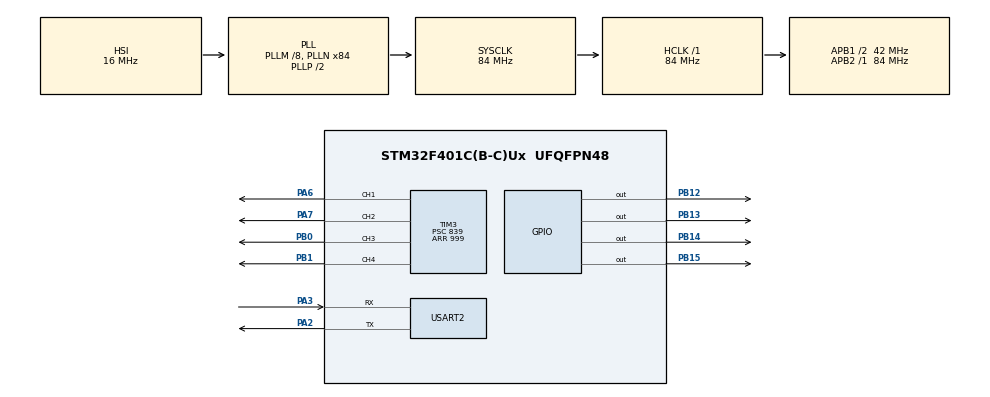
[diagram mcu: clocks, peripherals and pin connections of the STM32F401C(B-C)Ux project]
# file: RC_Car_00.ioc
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Mcu.Family=STM32F4
Mcu.Name=STM32F401C(B-C)Ux
Mcu.Package=UFQFPN48
NVIC.PriorityGroup=NVIC_PRIORITYGROUP_4
NVIC.RCC_IRQn=true\:0\:0\:false\:false\:true\:true\:false\:true
NVIC.TIM3_IRQn=true\:0\:0\:false\:false\:true\:true\:true\:true
NVIC.USART2_IRQn=true\:0\:0\:false\:false\:true\:true\:true\:true
PA13.Mode=Serial_Wire
PA13.Signal=SYS_JTMS-SWDIO
PA14.Mode=Serial_Wire
PA14.Signal=SYS_JTCK-SWCLK
PA2.Mode=Asynchronous
PA2.Signal=USART2_TX
PA3.Mode=Asynchronous
PA3.Signal=USART2_RX
PA6.Signal=S_TIM3_CH1
PA7.Signal=S_TIM3_CH2
PB0.Signal=S_TIM3_CH3
PB1.Signal=S_TIM3_CH4
PB12.PinState=GPIO_PIN_RESET
PB12.Signal=GPIO_Output
PB13.PinState=GPIO_PIN_RESET
PB13.Signal=GPIO_Output
PB14.PinState=GPIO_PIN_RESET
PB14.Signal=GPIO_Output
PB15.PinState=GPIO_PIN_RESET
PB15.Signal=GPIO_Output
PH0\ -\ OSC_IN.Mode=HSE-External-Oscillator
PH0\ -\ OSC_IN.Signal=RCC_OSC_IN
PH1\ -\ OSC_OUT.Mode=HSE-External-Oscillator
PH1\ -\ OSC_OUT.Signal=RCC_OSC_OUT
ProjectManager.HeapSize=0x200
ProjectManager.StackSize=0x400
ProjectManager.TargetToolchain=MDK-ARM V5
RCC.48MHZClocksFreq_Value=42000000
RCC.AHBFreq_Value=84000000
RCC.APB1CLKDivider=RCC_HCLK_DIV2
RCC.APB1Freq_Value=42000000
RCC.APB1TimFreq_Value=84000000
RCC.APB2Freq_Value=84000000
RCC.APB2TimFreq_Value=84000000
RCC.CortexFreq_Value=84000000
RCC.HCLKFreq_Value=84000000
RCC.HSE_VALUE=25000000
RCC.HSI_VALUE=16000000
RCC.LSE_VALUE=32768
RCC.PLLM=8
RCC.PLLN=84
RCC.SYSCLKFreq_VALUE=84000000
RCC.SYSCLKSource=RCC_SYSCLKSOURCE_PLLCLK
RCC.VCOOutputFreq_Value=168000000
SH.S_TIM3_CH1.0=TIM3_CH1,PWM Generation1 CH1
SH.S_TIM3_CH2.0=TIM3_CH2,PWM Generation2 CH2
SH.S_TIM3_CH3.0=TIM3_CH3,PWM Generation3 CH3
SH.S_TIM3_CH4.0=TIM3_CH4,PWM Generation4 CH4
TIM3.AutoReloadPreload=TIM_AUTORELOAD_PRELOAD_ENABLE
TIM3.Channel-PWM\ Generation1\ CH1=TIM_CHANNEL_1
TIM3.Channel-PWM\ Generation2\ CH2=TIM_CHANNEL_2
TIM3.Channel-PWM\ Generation3\ CH3=TIM_CHANNEL_3
TIM3.Channel-PWM\ Generation4\ CH4=TIM_CHANNEL_4
TIM3.Period=999
TIM3.Prescaler=839
USART2.VirtualMode=VM_ASYNC
VP_TIM3_VS_ClockSourceINT.Mode=Internal
board=custom

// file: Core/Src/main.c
/* USER CODE BEGIN Header */
/**
 ******************************************************************************
 * @file           : main.c
 * @brief          : Main program body
 ******************************************************************************
 * @attention
 *
 * Copyright (c) 2023 STMicroelectronics.
 * All rights reserved.
 *
 * This software is licensed under terms that can be found in the LICENSE file
 * in the root directory of this software component.
 * If no LICENSE file comes with this software, it is provided AS-IS.
 *
 ******************************************************************************
 */
/* USER CODE END Header */
#include "main.h"

TIM_HandleTypeDef htim3;

UART_HandleTypeDef huart2;

/* USER CODE BEGIN PV */

// Global variables:
uint8_t rx_buff = '\0';
uint8_t tx_buff = 0xAA;

// debug
uint8_t pwmA, pwmB, V1, V2;

/* USER CODE END PV */

void SystemClock_Config(void);
static void MX_GPIO_Init(void);
static void MX_TIM3_Init(void);
static void MX_USART2_UART_Init(void);
/* USER CODE BEGIN PFP */

void HAL_UART_RxCpltCallback(UART_HandleTypeDef *huart);
void HAL_UART_TxCpltCallback(UART_HandleTypeDef *huart);

uint8_t decode(uint8_t Vin, _Bool Mode);

// return percent of value
uint8_t map_(uint8_t value);

void Stop(void);

void Forward(void);
void Back(void);
void L_Spin(void);
void R_Spin(void);

void pwm(uint8_t pwmA, uint8_t pwmB);
unsigned char map_pwm_bitwise(unsigned char V1, unsigned char V2);

// void pwm_(uint8_t V2, uint8_t V1);

void controll(uint8_t value);

/* USER CODE END PFP */

/* USER CODE BEGIN 0 */
// Call this function after receive data from uart
// Active after receive data
void HAL_UART_RxCpltCallback(UART_HandleTypeDef *huart)
{
  //  __NOP();
  controll(rx_buff);
  /* Prevent unused argument(s) compilation warning */
  //  UNUSED(huart);
  /* NOTE: This function should not be modified, when the callback is needed,
           the HAL_UART_RxCpltCallback could be implemented in the user file
   */
}

// Call this function after transmit data
// Active after transmit
void HAL_UART_TxCpltCallback(UART_HandleTypeDef *huart)
{
  //	__NOP();
  /* Prevent unused argument(s) compilation warning */
  //  UNUSED(huart);
  HAL_UART_Receive_IT(&huart2, &rx_buff, 1);
  //	controll(rx_buff);
  /* NOTE: This function should not be modified, when the callback is needed,
           the HAL_UART_TxCpltCallback could be implemented in the user file
   */
}

uint8_t decode(uint8_t Vin, _Bool Mode)
{
  return (Mode == 1) ? (Vin >> 4) : (Vin & 15);
}

uint8_t map_(uint8_t value)
{
  uint8_t mp[] = {100, 85, 71, 56, 42, 28, 14, 0, 14, 28, 42, 56, 71, 85, 100};
  return mp[value];
}

// void pwm_(uint8_t V2, uint8_t V1)
//{
//
//   if (V1 == 7)
//   {
//		pwmA = pwmB = map_(V2);
//
//
//     __HAL_TIM_SET_COMPARE(&htim3, TIM_CHANNEL_1, pwmA);
//		__HAL_TIM_SET_COMPARE(&htim3, TIM_CHANNEL_2, pwmA);
//
//		__HAL_TIM_SET_COMPARE(&htim3, TIM_CHANNEL_3, pwmB);
//		__HAL_TIM_SET_COMPARE(&htim3, TIM_CHANNEL_4, pwmB);
//   }
//	else
//	{
//		if (V2 > 7)
//		{
//			pwmA = map_(V1);
//			pwmB = pwmA * map_(V2) / 100;
//		}
//		if (V2 < 7)
//		{
//			pwmB = map_(V1);
//			pwmA = pwmB * map_(V2) / 100;
//		}
//		__HAL_TIM_SET_COMPARE(&htim3, TIM_CHANNEL_1, pwmA);
//		__HAL_TIM_SET_COMPARE(&htim3, TIM_CHANNEL_3, pwmA);
//
//		__HAL_TIM_SET_COMPARE(&htim3, TIM_CHANNEL_2, pwmB);
//		__HAL_TIM_SET_COMPARE(&htim3, TIM_CHANNEL_4, pwmB);
//	}
////  HAL_Delay(50);
//}

void Stop()
{
  HAL_GPIO_WritePin(GPIOB, GPIO_PIN_12 | GPIO_PIN_13 | GPIO_PIN_14 | GPIO_PIN_15, GPIO_PIN_RESET);
  __HAL_TIM_SET_COMPARE(&htim3, TIM_CHANNEL_1, 0);
  __HAL_TIM_SET_COMPARE(&htim3, TIM_CHANNEL_2, 0);
  __HAL_TIM_SET_COMPARE(&htim3, TIM_CHANNEL_3, 0);
  __HAL_TIM_SET_COMPARE(&htim3, TIM_CHANNEL_4, 0);
}

void Forward()
{
  // Motor L up
  HAL_GPIO_WritePin(GPIOB, GPIO_PIN_12 | GPIO_PIN_14, GPIO_PIN_SET);
  // Motor R up
  HAL_GPIO_WritePin(GPIOB, GPIO_PIN_13 | GPIO_PIN_15, GPIO_PIN_RESET);
}
void Back()
{
  // Motor L down
  HAL_GPIO_WritePin(GPIOB, GPIO_PIN_12 | GPIO_PIN_14, GPIO_PIN_RESET);
  // Motor R down
  HAL_GPIO_WritePin(GPIOB, GPIO_PIN_13 | GPIO_PIN_15, GPIO_PIN_SET);
}

void L_Spin()
{
  // Motor L down
  HAL_GPIO_WritePin(GPIOB, GPIO_PIN_12 | GPIO_PIN_15, GPIO_PIN_RESET);
  // Motor R up
  HAL_GPIO_WritePin(GPIOB, GPIO_PIN_13 | GPIO_PIN_14, GPIO_PIN_SET);
}
void R_Spin()
{
  // Motor L up
  HAL_GPIO_WritePin(GPIOB, GPIO_PIN_12 | GPIO_PIN_15, GPIO_PIN_SET);
  // Motor R down
  HAL_GPIO_WritePin(GPIOB, GPIO_PIN_13 | GPIO_PIN_14, GPIO_PIN_RESET);
}

void pwm(uint8_t pwmA, uint8_t pwmB)
{
  __HAL_TIM_SET_COMPARE(&htim3, TIM_CHANNEL_1, pwmA);
  __HAL_TIM_SET_COMPARE(&htim3, TIM_CHANNEL_3, pwmA);
  __HAL_TIM_SET_COMPARE(&htim3, TIM_CHANNEL_2, pwmB);
  __HAL_TIM_SET_COMPARE(&htim3, TIM_CHANNEL_4, pwmB);
}

unsigned char map_pwm_bitwise(unsigned char V1, unsigned char V2)
{
    unsigned char map[8][8] = {
      {0, 40, 55, 60, 65, 75, 80, 80},
//			{15, 11, 8, 6, 4, 2, 0, 0},      // 1
      {30, 21, 17, 12, 8, 8, 8, 8},    // 2
      {45, 32, 25, 18, 11, 11, 11, 11},   // 3
      {60, 42, 33, 24, 15, 15, 15, 15},   // 4
      {75, 53, 41, 30, 19, 19, 19, 19},   // 5
      {90, 63, 50, 36, 23, 23, 23, 23},   // 6
			{100, 70, 55, 40, 25, 25, 25, 25},  // 7
      {100, 70, 55, 40, 25, 25, 25, 25}  // 7
    };
  // Use for bug joystick V2 can't send 100% (14)
//  unsigned char map[8][8] = {
//      {0, 25, 40, 55, 70, 85, 100, 100}, // 0
// //     {15, 11, 8, 6, 4, 2, 0, 0},      // 1
//      {30, 21, 17, 12, 8, 3, 0, 0},    // 2
//      {45, 32, 25, 18, 11, 5, 0, 0},   // 3
//      {60, 42, 33, 24, 15, 6, 0, 0},   // 4
//      {75, 53, 41, 30, 19, 8, 0, 0},   // 5
//      {90, 63, 50, 36, 23, 9, 0, 0},   // 6
//			{100, 70, 55, 40, 25, 10, 0, 0},  // 7
//      {100, 70, 55, 40, 25, 10, 0, 0}  // 7
//  };
  V1 = (V1 < 7) ? (7 - V1) : (V1 - 7);
  V2 = (V2 < 7) ? (7 - V2) : (V2 - 7);
  return map[V1][V2];
}

void controll(uint8_t value)
{
  //  uint8_t V1, V2;

  V1 = decode(value, 1);
  V2 = decode(value, 0);

  if (V2 == 7)
  {
    if (V1 == 7)
      Stop();
    else
    {
      // pwmA = pwmB = map_(V1);
      pwmA = pwmB = map_pwm_bitwise(V1, V2);
      pwm(pwmA, pwmB);
      //    pwm(map_(V1),map_(V1));
      if (V1 < 7)
        Back();
      else
        Forward();
    }
  }
  if (V2 < 7)
  {
    if (V1 == 7)
    {
      // pwmA = pwmB = map_(V2);
      pwmA = pwmB = map_pwm_bitwise(V1, V2);
      L_Spin();
      pwm(pwmA, pwmB);
      //      pwm(map_(V2),map_(V2));
    }
    else
    {
      // pwmA = map_(V1)-((~(V2-7)+1)<<1);
      // pwmB = map_(V1);
      pwmB = map_pwm_bitwise(V1, 7);
      pwmA = map_pwm_bitwise(V1, V2);
      pwm(pwmA, pwmB);
      //      pwm(map_(V1)-((~(V2-7)+1)<<1), map_(V1));
      if (V1 > 7)
        Forward();
      else
        Back();
    }
  }
  if (V2 > 7)
  {
    if (V1 == 7)
    {
      // pwmA = pwmB = map_(V2);
      pwmA = pwmB = map_pwm_bitwise(V1, V2);
      pwm(pwmA, pwmB);
      //      pwm(map_(V2),map_(V2));
      R_Spin();
    }
    else
    {
      // pwmA = map_(V1);
      // pwmB = map_(V1) - ((V2-7)<<1);
      pwmA = map_pwm_bitwise(V1, 7);
      pwmB = map_pwm_bitwise(V1, V2);
      pwm(pwmA, pwmB);
      //      pwm(map_(V1), map_(V1) - ((V2-7)<<1));
      if (V1 > 7)
        Forward();
      else
        Back();
    }
  }
}
// pwm
//  pwm_(V2, V1);

/* USER CODE END 0 */

int main(void)
{

  /* MCU Configuration--------------------------------------------------------*/

  /* Reset of all peripherals, Initializes the Flash interface and the Systick. */
  HAL_Init();

  /* Configure the system clock */
  SystemClock_Config();

  /* Initialize all configured peripherals */
  MX_GPIO_Init();
  MX_TIM3_Init();
  MX_USART2_UART_Init();
  /* USER CODE BEGIN 2 */
  HAL_TIM_PWM_Start(&htim3, TIM_CHANNEL_1);
  HAL_TIM_PWM_Start(&htim3, TIM_CHANNEL_2);
  HAL_TIM_PWM_Start(&htim3, TIM_CHANNEL_3);
  HAL_TIM_PWM_Start(&htim3, TIM_CHANNEL_4);
  /* USER CODE END 2 */

  /* Infinite loop */
  while (1)
  {

    /* USER CODE BEGIN 3 */
    HAL_UART_Transmit_IT(&huart2, &tx_buff, 1);
    HAL_Delay(100);
  }
  /* USER CODE END 3 */
}

void SystemClock_Config(void)
{
  RCC_OscInitTypeDef RCC_OscInitStruct = {0};
  RCC_ClkInitTypeDef RCC_ClkInitStruct = {0};

  /** Configure the main internal regulator output voltage
   */
  __HAL_RCC_PWR_CLK_ENABLE();
  __HAL_PWR_VOLTAGESCALING_CONFIG(PWR_REGULATOR_VOLTAGE_SCALE2);

  /** Initializes the RCC Oscillators according to the specified parameters
   * in the RCC_OscInitTypeDef structure.
   */
  RCC_OscInitStruct.OscillatorType = RCC_OSCILLATORTYPE_HSI;
  RCC_OscInitStruct.HSIState = RCC_HSI_ON;
  RCC_OscInitStruct.HSICalibrationValue = RCC_HSICALIBRATION_DEFAULT;
  RCC_OscInitStruct.PLL.PLLState = RCC_PLL_ON;
  RCC_OscInitStruct.PLL.PLLSource = RCC_PLLSOURCE_HSI;
  RCC_OscInitStruct.PLL.PLLM = 8;
  RCC_OscInitStruct.PLL.PLLN = 84;
  RCC_OscInitStruct.PLL.PLLP = RCC_PLLP_DIV2;
  RCC_OscInitStruct.PLL.PLLQ = 4;
  if (HAL_RCC_OscConfig(&RCC_OscInitStruct) != HAL_OK)
  {
    Error_Handler();
  }

  /** Initializes the CPU, AHB and APB buses clocks
   */
  RCC_ClkInitStruct.ClockType = RCC_CLOCKTYPE_HCLK | RCC_CLOCKTYPE_SYSCLK | RCC_CLOCKTYPE_PCLK1 | RCC_CLOCKTYPE_PCLK2;
  RCC_ClkInitStruct.SYSCLKSource = RCC_SYSCLKSOURCE_PLLCLK;
  RCC_ClkInitStruct.AHBCLKDivider = RCC_SYSCLK_DIV1;
  RCC_ClkInitStruct.APB1CLKDivider = RCC_HCLK_DIV2;
  RCC_ClkInitStruct.APB2CLKDivider = RCC_HCLK_DIV1;

  if (HAL_RCC_ClockConfig(&RCC_ClkInitStruct, FLASH_LATENCY_2) != HAL_OK)
  {
    Error_Handler();
  }
}

static void MX_TIM3_Init(void)
{

  TIM_ClockConfigTypeDef sClockSourceConfig = {0};
  TIM_MasterConfigTypeDef sMasterConfig = {0};
  TIM_OC_InitTypeDef sConfigOC = {0};

  htim3.Instance = TIM3;
  htim3.Init.Prescaler = 83;
  htim3.Init.CounterMode = TIM_COUNTERMODE_UP;
  htim3.Init.Period = 99;
  htim3.Init.ClockDivision = TIM_CLOCKDIVISION_DIV1;
  htim3.Init.AutoReloadPreload = TIM_AUTORELOAD_PRELOAD_DISABLE;
  if (HAL_TIM_Base_Init(&htim3) != HAL_OK)
  {
    Error_Handler();
  }
  sClockSourceConfig.ClockSource = TIM_CLOCKSOURCE_INTERNAL;
  if (HAL_TIM_ConfigClockSource(&htim3, &sClockSourceConfig) != HAL_OK)
  {
    Error_Handler();
  }
  if (HAL_TIM_PWM_Init(&htim3) != HAL_OK)
  {
    Error_Handler();
  }
  sMasterConfig.MasterOutputTrigger = TIM_TRGO_RESET;
  sMasterConfig.MasterSlaveMode = TIM_MASTERSLAVEMODE_DISABLE;
  if (HAL_TIMEx_MasterConfigSynchronization(&htim3, &sMasterConfig) != HAL_OK)
  {
    Error_Handler();
  }
  sConfigOC.OCMode = TIM_OCMODE_PWM1;
  sConfigOC.Pulse = 0;
  sConfigOC.OCPolarity = TIM_OCPOLARITY_HIGH;
  sConfigOC.OCFastMode = TIM_OCFAST_DISABLE;
  if (HAL_TIM_PWM_ConfigChannel(&htim3, &sConfigOC, TIM_CHANNEL_1) != HAL_OK)
  {
    Error_Handler();
  }
  if (HAL_TIM_PWM_ConfigChannel(&htim3, &sConfigOC, TIM_CHANNEL_2) != HAL_OK)
  {
    Error_Handler();
  }
  if (HAL_TIM_PWM_ConfigChannel(&htim3, &sConfigOC, TIM_CHANNEL_3) != HAL_OK)
  {
    Error_Handler();
  }
  if (HAL_TIM_PWM_ConfigChannel(&htim3, &sConfigOC, TIM_CHANNEL_4) != HAL_OK)
  {
    Error_Handler();
  }
  HAL_TIM_MspPostInit(&htim3);
}

static void MX_USART2_UART_Init(void)
{

  huart2.Instance = USART2;
  huart2.Init.BaudRate = 115200;
  huart2.Init.WordLength = UART_WORDLENGTH_8B;
  huart2.Init.StopBits = UART_STOPBITS_1;
  huart2.Init.Parity = UART_PARITY_NONE;
  huart2.Init.Mode = UART_MODE_TX_RX;
  huart2.Init.HwFlowCtl = UART_HWCONTROL_NONE;
  huart2.Init.OverSampling = UART_OVERSAMPLING_16;
  if (HAL_UART_Init(&huart2) != HAL_OK)
  {
    Error_Handler();
  }
}

static void MX_GPIO_Init(void)
{
  GPIO_InitTypeDef GPIO_InitStruct = {0};

  /* GPIO Ports Clock Enable */
  __HAL_RCC_GPIOH_CLK_ENABLE();
  __HAL_RCC_GPIOA_CLK_ENABLE();
  __HAL_RCC_GPIOB_CLK_ENABLE();

  /*Configure GPIO pin Output Level */
  HAL_GPIO_WritePin(GPIOB, GPIO_PIN_12 | GPIO_PIN_13 | GPIO_PIN_14 | GPIO_PIN_15, GPIO_PIN_RESET);

  /*Configure GPIO pins : PB12 PB13 PB14 PB15 */
  GPIO_InitStruct.Pin = GPIO_PIN_12 | GPIO_PIN_13 | GPIO_PIN_14 | GPIO_PIN_15;
  GPIO_InitStruct.Mode = GPIO_MODE_OUTPUT_PP;
  GPIO_InitStruct.Pull = GPIO_NOPULL;
  GPIO_InitStruct.Speed = GPIO_SPEED_FREQ_LOW;
  HAL_GPIO_Init(GPIOB, &GPIO_InitStruct);

}

void Error_Handler(void)
{
  __disable_irq();
  while (1)
  {
  }
}
